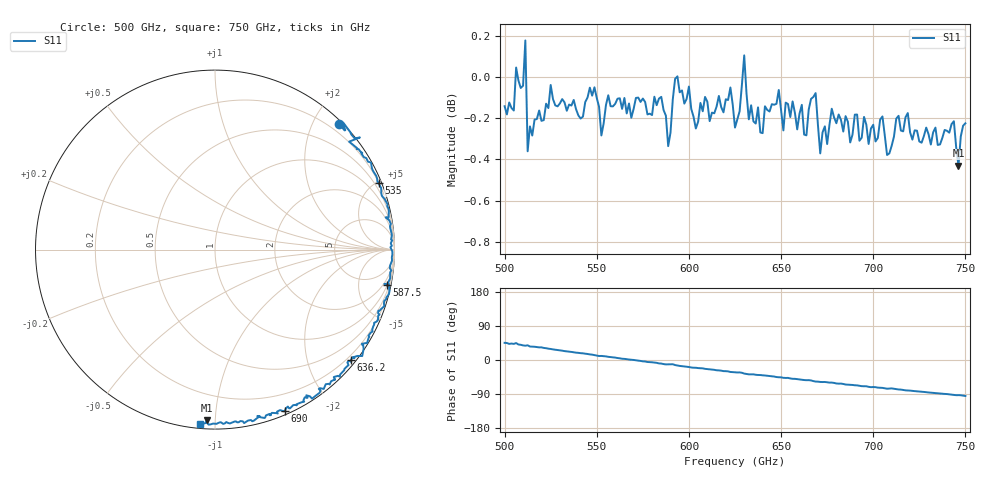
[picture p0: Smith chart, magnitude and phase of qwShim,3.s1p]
!Created with mwavepy.
# GHz S RI R 50.0
!freq	ReS11	ImS11
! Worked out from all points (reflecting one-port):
!   201 points, 500 GHz to 750 GHz, reference 50 ohm
!   lowest |S11| = -0.4 dB at 746.2 GHz (marker M1), VSWR 40.31, Z = 2.37 - j47.7 ohm
!   phase of S11 starts at 45 deg and turns -140 deg over the sweep
!   S11 on the Smith chart (normalised r, x): 500 GHz: 0.06, +2.40; 535 GHz: 0.21, +5.09; 587.5 GHz: 1.05, -9.76; 636.2 GHz: 0.12, -2.82; 690 GHz: 0.03, -1.52; 750 GHz: 0.02, -0.92
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500  0.6924 0.6989
! Port Impedance 50.00000000000000 0.00000000000000
505  0.7229 0.6638
506.25  0.7151 0.7067
507.5  0.7535 0.6546
511.25  0.8073 0.6246
512.5  0.7473 0.6015
513.75  0.7919 0.565
520  0.8147 0.5371
531.25  0.898 0.4113
535  0.9118 0.372
562.5  0.9852 0.0769
587.5  0.9587 -0.1962
591.25  0.9688 -0.192
593.75  0.9689 -0.249
625  0.8185 -0.5245
628.75  0.8281 -0.5529
630  0.8204 -0.593
632.5  0.771 -0.5995
636.25  0.7571 -0.6133
656.25  0.639 -0.7515
668.75  0.5409 -0.8304
671.25  0.5089 -0.8119
677.5  0.4971 -0.8474
687.5  0.4063 -0.8743
690  0.3884 -0.8989
718.75  0.1623 -0.9665
746.25  -0.0442 -0.9506
750  -0.0833 -0.9709
